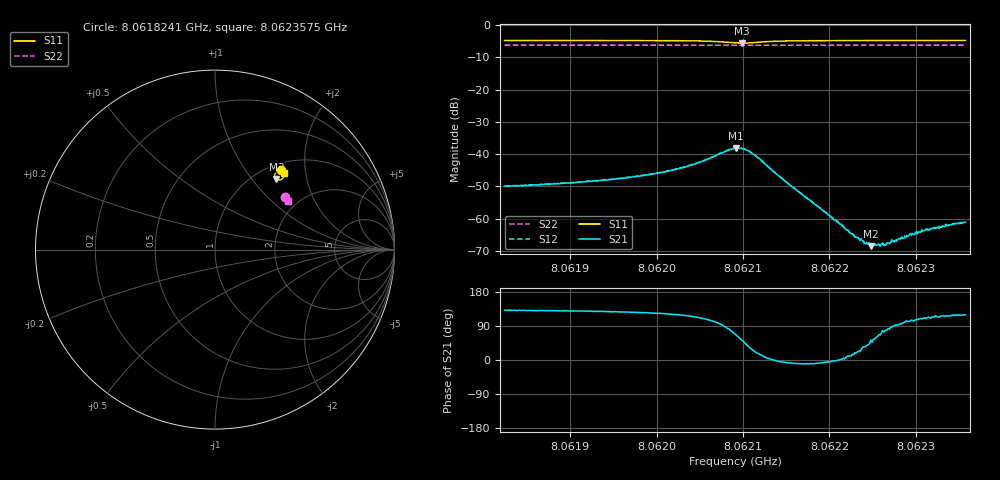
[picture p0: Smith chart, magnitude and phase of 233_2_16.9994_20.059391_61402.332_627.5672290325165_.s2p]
#  HZ  S  RI  R  50.00
! Rohde & Schwarz Vector Network Analyzer
! Rohde-Schwarz,ZNB20-2Port,1311601062101988,3.16
! Created: UTC 3/20/2024, 11:02:27 PM
! freq[Hz]  re:S11  im:S11  re:S21  im:S21  re:S12  im:S12  re:S22  im:S22
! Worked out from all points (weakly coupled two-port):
!   401 points, 8.0618241 GHz to 8.0623575 GHz, reference 50 ohm
!   highest |S21| = -38.13 dB at 8.0620921 GHz (marker M1); lowest = -68.5 dB at 8.0622482 GHz (marker M2)
!   lowest |S11| = -5.6 dB at 8.0620988 GHz (marker M3), VSWR 3.18, Z = 61.9 + j67 ohm
!   |S11| at or under -10 dB: nowhere
!   |S22| runs from -6.3 to -6.2 dB; largest |S21 - S12| = 0.00088
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8.06182405e9  0.3654 0.4451  -0.0021 0.00239  -0.00198 0.00255  0.3875 0.2956
8.06191341e9  0.372 0.4391  -0.00234 0.00287  -0.00217 0.00305  0.3907 0.2912
8.06196542e9  0.3764 0.4343  -0.00255 0.00346  -0.0024 0.00367  0.3924 0.2884
8.06200277e9  0.3801 0.429  -0.0028 0.00429  -0.00254 0.0045  0.3937 0.2865
8.06204278e9  0.3839 0.4182  -0.00287 0.00633  -0.00249 0.00655  0.395 0.2843
8.0620908e9  0.3567 0.3885  0.00456 0.0114  0.00537 0.0113  0.395 0.2811
8.06209213e9  0.3543 0.3887  0.00507 0.0113  0.00582 0.0111  0.3948 0.281
8.0620988e9  0.3422 0.3941  0.00752 0.0096  0.00824 0.00922  0.3946 0.2813
8.06210547e9  0.3345 0.4052  0.00905 0.00689  0.00958 0.00643  0.3946 0.2815
8.06211614e9  0.3346 0.4228  0.00866 0.00295  0.00869 0.00258  0.3952 0.2818
8.06214548e9  0.3537 0.4391  0.00415 -0.000368  0.00414 -0.00064  0.3973 0.2808
8.06218015e9  0.3663 0.4386  0.00178 -0.000315  0.00179 -0.000397  0.3989 0.2788
8.06220683e9  0.3717 0.4369  0.000946 -3.98e-05  0.00096 -7.84e-05  0.4 0.2776
8.06223217e9  0.3752 0.435  0.000474 0.00018  0.000466 0.000164  0.4009 0.2762
8.06224284e9  0.3765 0.4342  0.00033 0.000251  0.000375 0.000244  0.4011 0.2756
8.06224817e9  0.3772 0.4338  0.000228 0.000302  0.000303 0.000282  0.4014 0.2754
8.06226151e9  0.3786 0.433  9.07e-05 0.000412  0.00015 0.000384  0.4021 0.2747
8.06226685e9  0.3791 0.4326  8.01e-05 0.000416  8.68e-05 0.000386  0.4021 0.2744
8.06226951e9  0.3794 0.4324  6.48e-05 0.000414  8.9e-05 0.000397  0.4021 0.2742
8.06230953e9  0.383 0.4299  -0.000233 0.000608  -0.000188 0.000619  0.4035 0.2723
8.06233353e9  0.3849 0.4285  -0.00032 0.000684  -0.000324 0.000729  0.4043 0.271
8.06235754e9  0.3865 0.4271  -0.000439 0.000774  -0.000364 0.000799  0.405 0.2698
